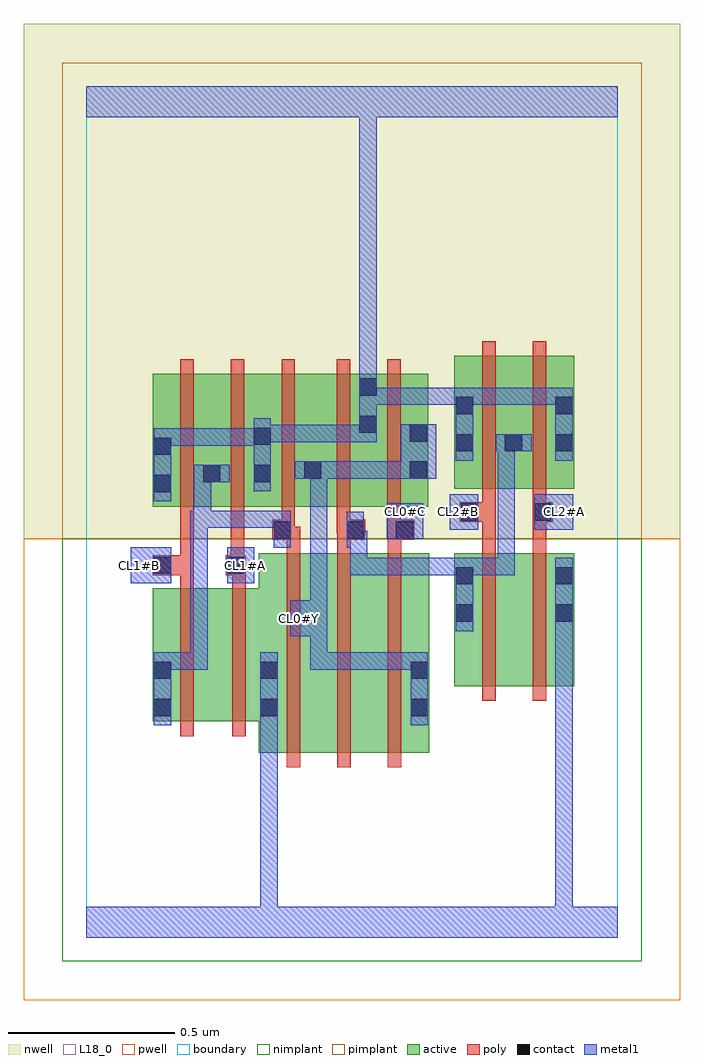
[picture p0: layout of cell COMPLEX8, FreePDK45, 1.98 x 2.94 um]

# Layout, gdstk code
import gdstk
lib = gdstk.Library(unit=1e-6, precision=1e-09)
def R(c, l, rs):  # rectangles x0, y0, x1, y1
    for r in rs: c.add(gdstk.rectangle(r[:2], r[2:], *l))
def A(c, l, x, y, w, h, nx, ny, dx, dy):  # array of equal rectangles
    R(c, l, [(x+i*dx, y+j*dy, x+i*dx+w, y+j*dy+h) for i in range(nx) for j in range(ny)])
active = (1, 0)
pwell = (2, 0)
nwell = (3, 0)
nimplant = (4, 0)
pimplant = (5, 0)
poly = (9, 0)
contact = (10, 0)
metal1 = (11, 0)
L18_0 = (18, 0)
boundary = (235, 0)

complex8 = lib.new_cell('COMPLEX8')
A(complex8, active, 0.348, 1.296, 0.06, 0.4, 3, 1, 0.152, 0)
R(complex8, active, [(0.52,0.556,0.7,1.156), (0.52,0.556,0.58,1.05), (0.7,0.556,0.852,1.156), (0.852,0.556,1.032,1.156), (0.972,0.556,1.032,1.156), (0.2,0.65,0.26,1.05), (0.2,0.65,0.384,1.05), (0.384,0.65,0.58,1.05), (1.108,0.756,1.168,1.156), (1.108,0.756,1.288,1.156), (1.288,0.756,1.468,1.156), (1.408,0.756,1.468,1.156), (0.2,1.296,0.26,1.696), (0.2,1.296,0.408,1.696), (0.348,1.296,0.56,1.696), (0.5,1.296,0.712,1.696), (0.652,1.296,0.878,1.696), (0.818,1.296,0.878,1.696), (0.818,1.296,1.03,1.696), (0.97,1.296,1.03,1.696), (1.108,1.35,1.168,1.75), (1.108,1.35,1.316,1.75), (1.256,1.35,1.316,1.75), (1.256,1.35,1.468,1.75), (1.408,1.35,1.468,1.75)])
R(complex8, pwell, [(-0.188,-0.188,1.788,1.2)])
R(complex8, nwell, [(-0.188,1.2,1.788,2.748)])
R(complex8, nimplant, [(-0.072,-0.072,1.672,1.2)])
R(complex8, pimplant, [(-0.072,1.2,1.672,2.632)])
A(complex8, poly, 0.604, 0.512, 0.04, 0.688, 3, 1, 0.152, 0)
A(complex8, poly, 0.604, 1.16, 0.04, 0.076, 3, 1, 0.152, 0)
A(complex8, poly, 0.284, 1.252, 0.04, 0.488, 3, 1, 0.152, 0)
R(complex8, poly, [(0.284,0.606,0.324,1.094), (0.44,0.606,0.48,1.094), (1.192,0.712,1.232,1.2), (1.344,0.712,1.384,1.2), (0.284,1.054,0.324,1.13), (0.44,1.054,0.48,1.13), (0.2,1.09,0.324,1.15), (0.284,1.09,0.324,1.13), (0.284,1.09,0.324,1.13), (0.42,1.09,0.48,1.15), (0.284,1.11,0.324,1.292), (0.436,1.11,0.476,1.15), (0.436,1.11,0.476,1.15), (0.436,1.11,0.476,1.292), (1.192,1.16,1.232,1.29), (1.344,1.16,1.384,1.29), (0.56,1.196,0.628,1.256), (0.588,1.196,0.628,1.236), (0.588,1.196,0.644,1.236), (0.756,1.196,0.84,1.256), (0.906,1.196,0.988,1.256), (0.908,1.196,0.948,1.236), (0.908,1.196,0.948,1.236), (0.588,1.216,0.628,1.292), (0.754,1.216,0.794,1.292), (0.754,1.216,0.796,1.256), (0.756,1.216,0.796,1.256), (0.906,1.216,0.946,1.292), (1.124,1.25,1.232,1.31), (1.192,1.25,1.232,1.29), (1.192,1.25,1.232,1.29), (1.344,1.25,1.384,1.29), (1.344,1.25,1.384,1.29), (1.344,1.25,1.404,1.31), (0.754,1.252,0.794,1.74), (0.906,1.252,0.946,1.74), (1.192,1.27,1.232,1.346), (1.344,1.27,1.384,1.346), (1.192,1.306,1.232,1.794), (1.344,1.306,1.384,1.794)])
R(complex8, contact, [(0.204,0.666,0.256,0.718), (0.524,0.666,0.576,0.718), (0.976,0.666,1.028,0.718), (0.204,0.778,0.256,0.83), (0.524,0.778,0.576,0.83), (0.976,0.778,1.028,0.83), (1.112,0.95,1.164,1.002), (1.412,0.95,1.464,1.002), (1.112,1.062,1.164,1.114), (1.412,1.062,1.464,1.114), (0.204,1.094,0.256,1.146), (0.424,1.094,0.476,1.146), (0.564,1.2,0.616,1.252), (0.784,1.2,0.836,1.252), (0.932,1.2,0.984,1.252), (1.128,1.254,1.18,1.306), (1.348,1.254,1.4,1.306), (0.204,1.34,0.256,1.392), (0.352,1.37,0.404,1.422), (0.504,1.37,0.556,1.422), (0.656,1.38,0.708,1.432), (0.974,1.38,1.026,1.432), (0.204,1.452,0.256,1.504), (1.112,1.462,1.164,1.514), (1.26,1.462,1.312,1.514), (1.412,1.462,1.464,1.514), (0.504,1.482,0.556,1.534), (0.974,1.492,1.026,1.544), (0.822,1.518,0.874,1.57), (1.112,1.574,1.164,1.626), (1.412,1.574,1.464,1.626), (0.822,1.63,0.874,1.682)])
R(complex8, metal1, [(0,0,1.6,0.092), (0.524,0.04,0.576,0.092), (0.524,0.04,0.576,0.092), (0.524,0.04,0.576,0.092), (0.524,0.04,0.576,0.092), (0.524,0.04,0.576,0.092), (0.524,0.04,0.576,0.092), (0.524,0.04,0.576,0.092), (0.524,0.04,0.576,0.092), (0.524,0.04,0.576,0.69), (1.412,0.04,1.464,0.974), (0.204,0.638,0.256,0.858), (0.524,0.638,0.576,0.858), (0.976,0.638,1.028,0.858), (0.204,0.806,0.256,0.858), (0.204,0.806,0.256,0.858), (0.204,0.806,0.256,0.858), (0.204,0.806,0.256,0.858), (0.204,0.806,0.366,0.858), (0.314,0.806,0.366,0.858), (0.314,0.806,0.366,1.284), (0.674,0.806,0.726,0.858), (0.674,0.806,0.726,0.858), (0.674,0.806,0.726,0.858), (0.674,0.806,0.846,0.858), (0.674,0.806,0.726,0.958), (0.794,0.806,0.846,0.858), (0.794,0.806,1.028,0.858), (0.976,0.806,1.028,0.858), (0.976,0.806,1.028,0.858), (0.614,0.906,0.726,1.014), (1.112,0.922,1.164,1.142), (1.412,0.922,1.464,0.974), (1.412,0.922,1.464,0.974), (1.412,0.922,1.464,0.974), (1.412,0.922,1.464,0.974), (1.412,0.922,1.464,0.974), (1.412,0.922,1.464,0.974), (1.412,0.922,1.464,0.974), (1.412,0.922,1.464,0.974), (1.412,0.922,1.464,0.974), (1.412,0.922,1.464,0.974), (1.412,0.922,1.464,0.974), (1.412,0.922,1.464,0.974), (1.412,0.922,1.464,1.142), (0.674,0.962,0.726,1.014), (0.674,0.962,0.726,1.014), (0.674,0.962,0.726,1.432), (0.134,1.066,0.256,1.174), (0.424,1.066,0.506,1.174), (0.794,1.09,1.036,1.142), (0.794,1.09,0.846,1.224), (0.984,1.09,1.036,1.142), (0.984,1.09,1.036,1.142), (0.984,1.09,1.036,1.142), (0.984,1.09,1.164,1.142), (1.112,1.09,1.164,1.142), (1.112,1.09,1.164,1.142), (1.112,1.09,1.29,1.142), (1.238,1.09,1.29,1.142), (1.238,1.09,1.29,1.142), (1.238,1.09,1.29,1.142), (1.238,1.09,1.29,1.514), (0.564,1.172,0.616,1.284), (0.784,1.172,0.846,1.224), (0.784,1.172,0.836,1.28), (0.904,1.2,1.014,1.306), (1.094,1.226,1.18,1.334), (1.348,1.226,1.466,1.334), (0.314,1.232,0.376,1.284), (0.324,1.232,0.376,1.284), (0.324,1.232,0.376,1.284), (0.324,1.232,0.556,1.284), (0.324,1.232,0.376,1.422), (0.504,1.232,0.556,1.284), (0.504,1.232,0.616,1.284), (0.204,1.312,0.256,1.532), (0.504,1.342,0.556,1.562), (0.324,1.37,0.432,1.422), (0.628,1.38,0.736,1.432), (0.684,1.38,0.736,1.432), (0.684,1.38,0.736,1.432), (0.684,1.38,0.874,1.432), (0.822,1.38,0.874,1.432), (0.822,1.38,0.998,1.432), (0.946,1.38,0.998,1.432), (0.946,1.38,0.998,1.432), (0.946,1.38,1.054,1.544), (1.112,1.434,1.164,1.654), (1.412,1.434,1.464,1.654), (1.232,1.462,1.34,1.514), (1.238,1.462,1.29,1.514), (1.238,1.462,1.29,1.514), (0.204,1.48,0.256,1.532), (0.204,1.48,0.256,1.532), (0.204,1.48,0.446,1.532), (0.394,1.48,0.446,1.532), (0.394,1.48,0.446,1.532), (0.394,1.48,0.446,1.532), (0.394,1.48,0.556,1.532), (0.504,1.49,0.556,1.542), (0.504,1.49,0.556,1.542), (0.504,1.49,0.736,1.542), (0.684,1.49,0.736,1.542), (0.684,1.49,0.736,1.542), (0.684,1.49,0.736,1.542), (0.684,1.49,0.874,1.542), (0.822,1.49,0.874,1.71), (0.822,1.602,1.036,1.654), (0.984,1.602,1.036,1.654), (0.984,1.602,1.036,1.654), (0.984,1.602,1.036,1.654), (0.984,1.602,1.164,1.654), (1.112,1.602,1.164,1.654), (1.112,1.602,1.164,1.654), (1.112,1.602,1.274,1.654), (1.222,1.602,1.274,1.654), (1.222,1.602,1.464,1.654), (1.412,1.602,1.464,1.654), (1.412,1.602,1.464,1.654), (0.822,1.658,0.874,2.52), (0,2.468,1.6,2.56), (0.822,2.468,0.874,2.52), (0.822,2.468,0.874,2.52), (0.822,2.468,0.874,2.52), (0.822,2.468,0.874,2.52), (0.822,2.468,0.874,2.52), (0.822,2.468,0.874,2.52), (0.822,2.468,0.874,2.52), (0.822,2.468,0.874,2.52), (0.822,2.468,0.874,2.52), (0.822,2.468,0.874,2.52), (0.822,2.468,0.874,2.52), (0.822,2.468,0.874,2.52), (0.822,2.468,0.874,2.52), (0.822,2.468,0.874,2.52), (0.822,2.468,0.874,2.52), (0.822,2.468,0.874,2.52)])
R(complex8, L18_0, [(0,0,1.6,0.092), (0.524,0.04,0.576,0.092), (0.524,0.04,0.576,0.092), (0.524,0.04,0.576,0.092), (0.524,0.04,0.576,0.092), (0.524,0.04,0.576,0.092), (0.524,0.04,0.576,0.092), (0.524,0.04,0.576,0.092), (0.524,0.04,0.576,0.092), (0.524,0.04,0.576,0.69), (1.412,0.04,1.464,0.974), (0.524,0.638,0.576,0.858), (0.976,0.638,1.028,0.858), (0.674,0.806,0.726,0.858), (0.674,0.806,0.726,0.858), (0.674,0.806,0.726,0.858), (0.674,0.806,0.726,0.958), (0.674,0.806,0.846,0.858), (0.794,0.806,0.846,0.858), (0.794,0.806,1.028,0.858), (0.976,0.806,1.028,0.858), (0.976,0.806,1.028,0.858), (0.614,0.906,0.726,1.014), (1.412,0.922,1.464,1.142), (1.412,0.922,1.464,0.974), (1.412,0.922,1.464,0.974), (1.412,0.922,1.464,0.974), (1.412,0.922,1.464,0.974), (1.412,0.922,1.464,0.974), (1.412,0.922,1.464,0.974), (1.412,0.922,1.464,0.974), (1.412,0.922,1.464,0.974), (1.412,0.922,1.464,0.974), (1.412,0.922,1.464,0.974), (1.412,0.922,1.464,0.974), (1.412,0.922,1.464,0.974), (0.614,0.934,0.666,0.986), (0.674,0.962,0.726,1.014), (0.674,0.962,0.726,1.014), (0.674,0.962,0.726,1.432), (0.134,1.066,0.256,1.174), (0.424,1.066,0.506,1.174), (0.134,1.094,0.186,1.146), (0.454,1.094,0.506,1.146), (0.904,1.2,1.014,1.306), (1.094,1.226,1.18,1.334), (1.348,1.226,1.466,1.334), (0.934,1.254,0.986,1.306), (1.094,1.254,1.146,1.306), (1.414,1.254,1.466,1.306), (0.204,1.312,0.256,1.532), (0.504,1.342,0.556,1.562), (0.628,1.38,0.736,1.432), (0.684,1.38,0.736,1.432), (0.684,1.38,0.736,1.432), (0.684,1.38,0.874,1.432), (0.822,1.38,0.874,1.432), (0.822,1.38,0.998,1.432), (0.946,1.38,0.998,1.432), (0.946,1.38,0.998,1.432), (0.946,1.38,1.054,1.544), (1.112,1.434,1.164,1.654), (1.412,1.434,1.464,1.654), (0.204,1.48,0.256,1.532), (0.204,1.48,0.256,1.532), (0.204,1.48,0.446,1.532), (0.394,1.48,0.446,1.532), (0.394,1.48,0.446,1.532), (0.394,1.48,0.446,1.532), (0.394,1.48,0.556,1.532), (0.504,1.49,0.556,1.542), (0.504,1.49,0.556,1.542), (0.504,1.49,0.736,1.542), (0.684,1.49,0.736,1.542), (0.684,1.49,0.736,1.542), (0.684,1.49,0.736,1.542), (0.684,1.49,0.874,1.542), (0.822,1.49,0.874,1.71), (0.822,1.602,1.036,1.654), (0.984,1.602,1.036,1.654), (0.984,1.602,1.036,1.654), (0.984,1.602,1.036,1.654), (0.984,1.602,1.164,1.654), (1.112,1.602,1.164,1.654), (1.112,1.602,1.164,1.654), (1.112,1.602,1.274,1.654), (1.222,1.602,1.274,1.654), (1.222,1.602,1.464,1.654), (1.412,1.602,1.464,1.654), (1.412,1.602,1.464,1.654), (0.822,1.658,0.874,2.52), (0,2.468,1.6,2.56), (0.822,2.468,0.874,2.52), (0.822,2.468,0.874,2.52), (0.822,2.468,0.874,2.52), (0.822,2.468,0.874,2.52), (0.822,2.468,0.874,2.52), (0.822,2.468,0.874,2.52), (0.822,2.468,0.874,2.52), (0.822,2.468,0.874,2.52), (0.822,2.468,0.874,2.52), (0.822,2.468,0.874,2.52), (0.822,2.468,0.874,2.52), (0.822,2.468,0.874,2.52), (0.822,2.468,0.874,2.52), (0.822,2.468,0.874,2.52), (0.822,2.468,0.874,2.52), (0.822,2.468,0.874,2.52)])
R(complex8, boundary, [(0,0,1.6,2.56)])
complex8.add(gdstk.Label('CL0#C', (0.96,1.28), layer=11, texttype=0))
complex8.add(gdstk.Label('CL0#Y', (0.64,0.96), layer=11, texttype=0))
complex8.add(gdstk.Label('CL1#A', (0.48,1.12), layer=11, texttype=0))
complex8.add(gdstk.Label('CL1#B', (0.16,1.12), layer=11, texttype=0))
complex8.add(gdstk.Label('CL2#A', (1.44,1.28), layer=11, texttype=0))
complex8.add(gdstk.Label('CL2#B', (1.12,1.28), layer=11, texttype=0))

lib.write_gds('COMPLEX8.gds')
